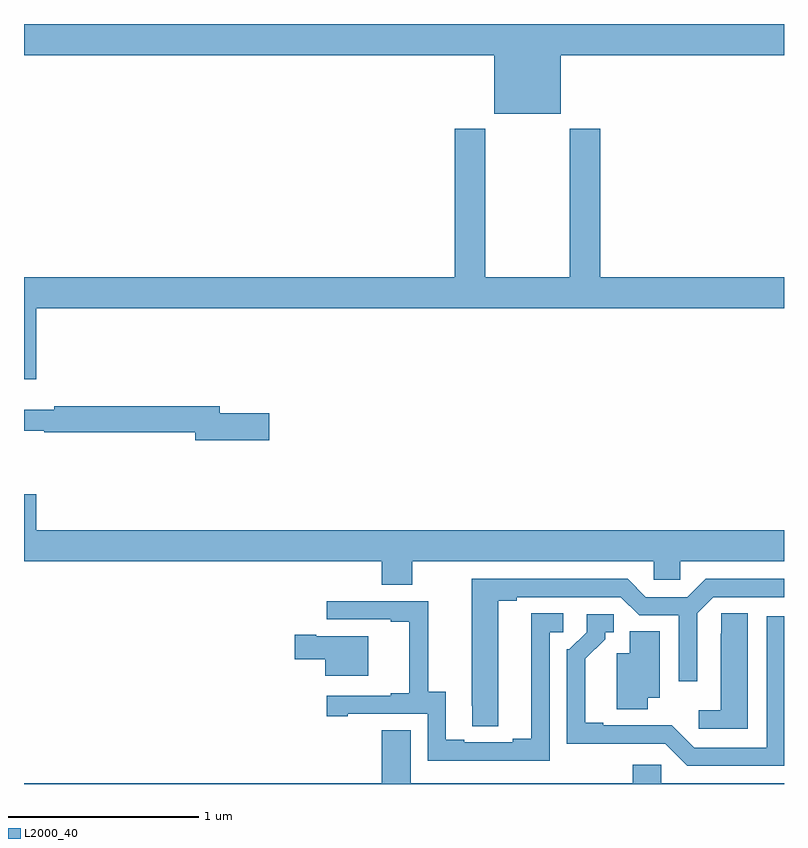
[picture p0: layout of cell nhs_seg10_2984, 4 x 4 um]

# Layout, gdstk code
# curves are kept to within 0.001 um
import gdstk
lib = gdstk.Library(unit=1e-6, precision=1e-09)
def P(c, l, *ps):  # polygons
    for p in ps: c.add(gdstk.Polygon(p, *l))
L2000_40 = (2000, 40)

nhs_seg10_2984 = lib.new_cell('nhs_seg10_2984')
P(nhs_seg10_2984, L2000_40, [(275.824,1280.336),(277,1280.336),(277,1280.5),(273,1280.5),(273,1280.336),(275.474,1280.336),(275.474,1280.027),(275.824,1280.027)],
  [(273.064,1279.004),(277,1279.004),(277,1279.168),(276.032,1279.168),(276.032,1279.948),(275.872,1279.948),(275.872,1279.168),(275.427,1279.168),(275.427,1279.948),(275.267,1279.948),(275.267,1279.168),(273,1279.168),(273,1278.63),(273.064,1278.63)],
  [(274.291,1278.452),(274.03,1278.452),(274.03,1278.488),(273.16,1278.488),(273.16,1278.469),(273,1278.469),(273,1278.36),(273.106,1278.36),(273.106,1278.352),(273.902,1278.352),(273.902,1278.31),(274.291,1278.31)],
  [(275.043,1277.672),(276.315,1277.672),(276.315,1277.574),(276.453,1277.574),(276.453,1277.672),(277,1277.672),(277,1277.836),(273.064,1277.836),(273.064,1278.025),(273,1278.025),(273,1277.672),(274.883,1277.672),(274.883,1277.548),(275.043,1277.548)],
  [(275.497,1277.464),(275.593,1277.464),(275.593,1277.484),(276.141,1277.484),(276.237,1277.388),(276.447,1277.388),(276.447,1277.04),(276.543,1277.04),(276.543,1277.4),(276.627,1277.484),(277,1277.484),(277,1277.58),(276.587,1277.58),(276.491,1277.484),(276.273,1277.484),(276.177,1277.58),(275.357,1277.58),(275.358,1276.804),(275.497,1276.804)],
  [(275.766,1277.298),(275.839,1277.298),(275.839,1277.399),(275.669,1277.399),(275.669,1276.739),(275.573,1276.739),(275.573,1276.719),(275.317,1276.719),(275.317,1276.734),(275.221,1276.734),(275.221,1276.985),(275.127,1276.985),(275.127,1277.463),(274.593,1277.463),(274.593,1277.367),(274.931,1277.367),(274.931,1277.355),(275.027,1277.355),(275.027,1276.978),(274.931,1276.978),(274.931,1276.965),(274.593,1276.965),(274.593,1276.857),(274.705,1276.857),(274.705,1276.869),(275.124,1276.869),(275.124,1276.623),(275.766,1276.623)],
  [(276.808,1277.399),(276.669,1277.399),(276.669,1277.291),(276.668,1277.291),(276.668,1276.888),(276.552,1276.888),(276.552,1276.791),(276.808,1276.791)],
  [(277,1277.382),(276.908,1277.382),(276.908,1276.692),(276.528,1276.692),(276.41,1276.81),(276.049,1276.809),(276.049,1276.822),(275.953,1276.822),(275.953,1277.158),(276.058,1277.263),(276.058,1277.298),(276.103,1277.298),(276.103,1277.394),(275.961,1277.394),(275.961,1277.298),(275.871,1277.208),(275.856,1277.208),(275.856,1276.712),(276.375,1276.713),(276.492,1276.596),(277,1276.596)],
  [(276.283,1276.955),(276.346,1276.955),(276.346,1277.303),(276.188,1277.303),(276.188,1277.188),(276.119,1277.188),(276.119,1276.894),(276.283,1276.894)],
  [(274.813,1277.278),(274.537,1277.278),(274.537,1277.286),(274.425,1277.286),(274.425,1277.156),(274.586,1277.156),(274.586,1277.069),(274.813,1277.069)],
  [(277,1276.504),(276.354,1276.504),(276.354,1276.602),(276.203,1276.602),(276.203,1276.504),(275.035,1276.504),(275.035,1276.784),(274.883,1276.784),(274.883,1276.504),(273,1276.504),(273,1276.5),(277,1276.5)])

lib.write_gds('nhs_seg10_2984.gds')
